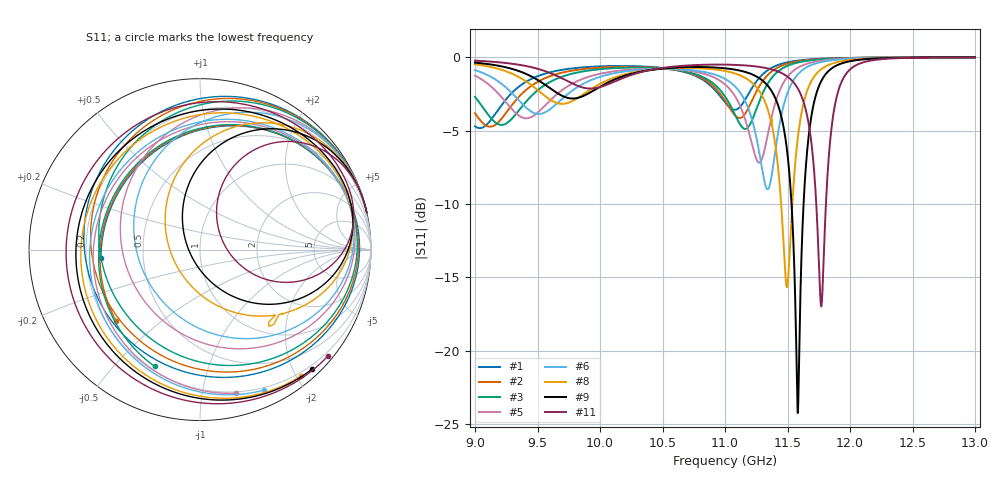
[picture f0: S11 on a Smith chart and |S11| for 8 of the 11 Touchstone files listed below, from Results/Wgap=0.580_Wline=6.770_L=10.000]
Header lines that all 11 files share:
! TOUCHSTONE file generated by CST DESIGN STUDIO
! Project name: C:\Work\MatlabApps\UnitCellOptimizationMatlab\CST\unitcell.cst
! Tree item: Tasks\Sweep1\SPara1\S-Parameters
! Header version: 2024
! Port assignment regex: !\s*Touchstone port\s*([0-9]+)\s*=\s*(CST MWS port|CST DES external port|CST DES block port)\s*(.+)\s* \(\"(.*)\"\)(\s*mode\s*([0-9]+))?.*
! Touchstone port assignment:
! Touchstone port 1 = CST DES external port 1 ("")
# GHz S MA R 50
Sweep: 9 GHz to 13 GHz
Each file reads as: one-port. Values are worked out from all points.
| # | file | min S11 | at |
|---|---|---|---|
| 1 | DS_for_MWS-run-0001.s1p | -4.8 dB | 9.039 GHz |
| 2 | DS_for_MWS-run-0002.s1p | -4.7 dB | 9.121 GHz |
| 3 | DS_for_MWS-run-0003.s1p | -4.9 dB | 11.16 GHz |
| 4 | DS_for_MWS-run-0004.s1p | -5.9 dB | 11.21 GHz |
| 5 | DS_for_MWS-run-0005.s1p | -7.2 dB | 11.27 GHz |
| 6 | DS_for_MWS-run-0006.s1p | -9.0 dB | 11.34 GHz |
| 7 | DS_for_MWS-run-0007.s1p | -11.6 dB | 11.41 GHz |
| 8 | DS_for_MWS-run-0008.s1p | -15.7 dB | 11.49 GHz |
| 9 | DS_for_MWS-run-0009.s1p | -24.3 dB | 11.58 GHz |
| 10 | DS_for_MWS-run-0010.s1p | -27.6 dB | 11.67 GHz |
| 11 | DS_for_MWS-run-0011.s1p | -17.0 dB | 11.77 GHz |
